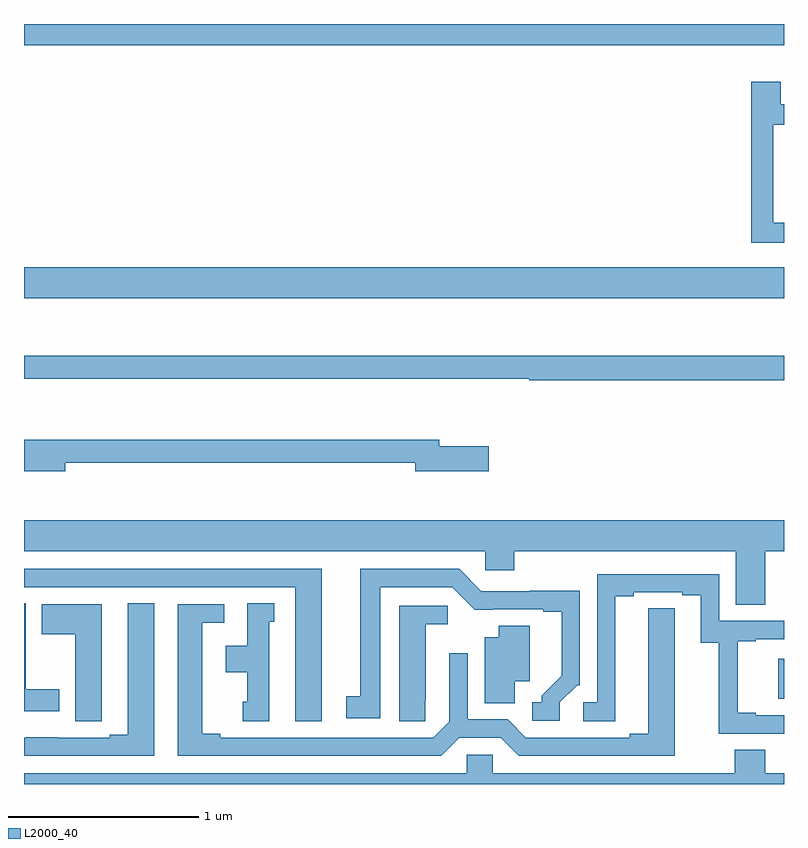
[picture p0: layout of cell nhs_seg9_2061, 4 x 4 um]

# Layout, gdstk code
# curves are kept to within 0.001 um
import gdstk
lib = gdstk.Library(unit=1e-6, precision=1e-09)
def R(c, l, rs):  # rectangles x0, y0, x1, y1
    for r in rs: c.add(gdstk.rectangle(r[:2], r[2:], *l))
def P(c, l, *ps):  # polygons
    for p in ps: c.add(gdstk.Polygon(p, *l))
L2000_40 = (2000, 40)

nhs_seg9_2061 = lib.new_cell('nhs_seg9_2061')
R(nhs_seg9_2061, L2000_40, [(230.969,1224.95,231,1225.159), (227,1227.056,231,1227.22), (227,1228.388,231,1228.5)])
P(nhs_seg9_2061, L2000_40, [(231,1227.453),(230.943,1227.453),(230.943,1227.969),(231,1227.969),(231,1228.078),(230.983,1228.078),(230.983,1228.195),(230.827,1228.195),(230.827,1227.348),(231,1227.348)],
  [(231,1226.755),(227,1226.755),(227,1226.634),(229.66,1226.634),(229.66,1226.626),(231,1226.626)],
  [(227.218,1226.19),(229.058,1226.19),(229.058,1226.147),(229.447,1226.147),(229.447,1226.277),(229.186,1226.277),(229.186,1226.311),(227,1226.311),(227,1226.147),(227.218,1226.147)],
  [(230.9,1225.724),(231,1225.724),(231,1225.888),(227,1225.888),(227,1225.724),(229.428,1225.724),(229.428,1225.626),(229.58,1225.626),(229.58,1225.724),(230.747,1225.724),(230.747,1225.444),(230.9,1225.444)],
  [(229.821,1224.93),(229.911,1225.02),(229.926,1225.02),(229.926,1225.517),(229.663,1225.517),(229.663,1225.515),(229.407,1225.515),(229.29,1225.632),(228.77,1225.632),(228.77,1224.962),(228.696,1224.962),(228.696,1224.846),(228.874,1224.846),(228.874,1225.536),(229.254,1225.536),(229.372,1225.418),(229.733,1225.419),(229.733,1225.407),(229.829,1225.407),(229.829,1225.07),(229.724,1224.965),(229.724,1224.93),(229.674,1224.93),(229.674,1224.834),(229.821,1224.834)],
  [(228.568,1225.632),(227,1225.632),(227,1225.536),(228.428,1225.536),(228.428,1224.831),(228.568,1224.831)],
  [(231,1224.861),(230.851,1224.861),(230.851,1224.874),(230.756,1224.874),(230.756,1225.251),(230.851,1225.251),(230.851,1225.263),(231,1225.263),(231,1225.359),(230.658,1225.359),(230.658,1225.605),(230.016,1225.605),(230.016,1224.93),(229.944,1224.93),(229.944,1224.829),(230.113,1224.829),(230.113,1225.489),(230.209,1225.489),(230.209,1225.509),(230.465,1225.509),(230.465,1225.494),(230.561,1225.494),(230.561,1225.243),(230.656,1225.243),(230.656,1224.765),(231,1224.765)],
  [(227.686,1225.451),(227.546,1225.451),(227.546,1224.759),(227.45,1224.759),(227.45,1224.744),(227.174,1224.744),(227.174,1224.745),(227.008,1224.745),(227.008,1224.744),(227,1224.744),(227,1224.648),(227.686,1224.648)],
  [(228.292,1225.353),(228.316,1225.353),(228.316,1225.451),(228.176,1225.451),(228.176,1225.228),(228.062,1225.228),(228.062,1225.088),(228.176,1225.088),(228.176,1224.933),(228.152,1224.933),(228.152,1224.831),(228.292,1224.831)],
  [(227.185,1224.999),(227.008,1224.999),(227.008,1225.451),(227,1225.451),(227,1224.882),(227.185,1224.882)],
  [(227.409,1224.937),(227.41,1224.937),(227.41,1225.447),(227.093,1225.447),(227.093,1225.288),(227.27,1225.288),(227.27,1224.829),(227.409,1224.829)],
  [(229.291,1224.744),(229.509,1224.744),(229.605,1224.648),(230.425,1224.648),(230.424,1225.424),(230.285,1225.424),(230.285,1224.764),(230.189,1224.764),(230.189,1224.744),(229.641,1224.744),(229.545,1224.84),(229.335,1224.84),(229.335,1225.189),(229.239,1225.189),(229.239,1224.828),(229.155,1224.744),(228.034,1224.744),(228.034,1224.764),(227.938,1224.764),(227.938,1225.35),(228.055,1225.35),(228.055,1225.446),(227.81,1225.446),(227.81,1224.648),(229.195,1224.648)],
  [(229.113,1224.937),(229.114,1224.937),(229.114,1225.34),(229.231,1225.34),(229.231,1225.437),(228.974,1225.437),(228.974,1224.829),(229.113,1224.829)],
  [(229.582,1225.04),(229.663,1225.04),(229.663,1225.334),(229.499,1225.334),(229.499,1225.273),(229.424,1225.273),(229.424,1224.925),(229.582,1224.925)],
  [(231,1224.556),(230.9,1224.556),(230.9,1224.68),(230.74,1224.68),(230.74,1224.556),(229.467,1224.556),(229.467,1224.654),(229.329,1224.654),(229.329,1224.556),(227,1224.556),(227,1224.5),(231,1224.5)])

lib.write_gds('nhs_seg9_2061.gds')
